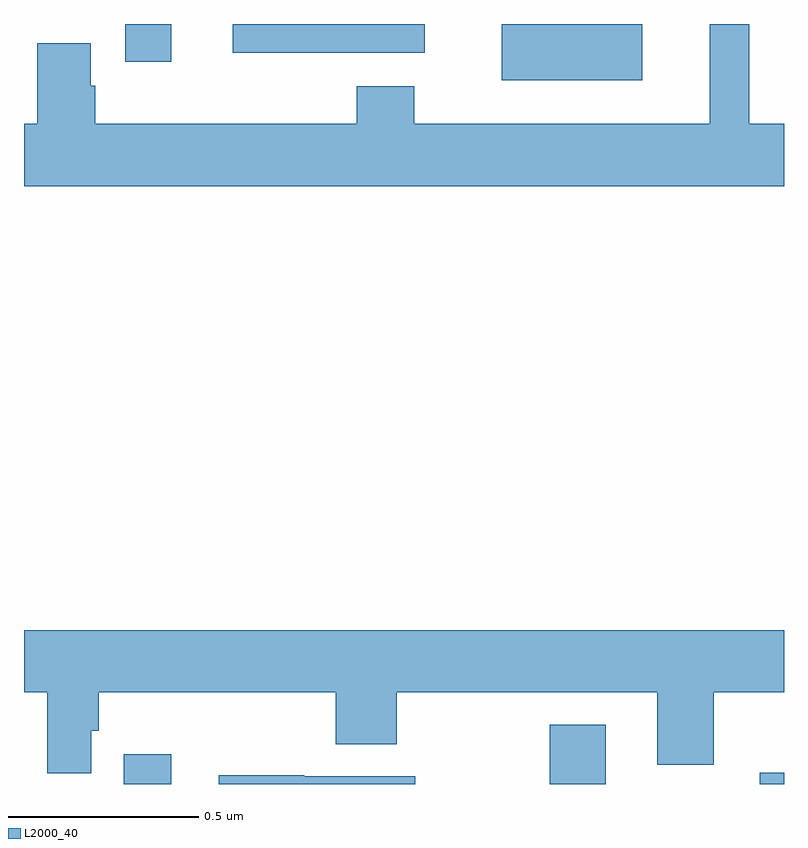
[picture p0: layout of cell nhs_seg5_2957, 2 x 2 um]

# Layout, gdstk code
import gdstk
lib = gdstk.Library(unit=1e-6, precision=1e-09)
def R(c, l, rs):  # rectangles x0, y0, x1, y1
    for r in rs: c.add(gdstk.rectangle(r[:2], r[2:], *l))
def P(c, l, *ps):  # polygons
    for p in ps: c.add(gdstk.Polygon(p, *l))
L2000_40 = (2000, 40)

nhs_seg5_2957 = lib.new_cell('nhs_seg5_2957')
R(nhs_seg5_2957, L2000_40, [(150.262,909.799,150.388,909.877), (151.384,909.799,151.531,909.955), (151.936,909.799,152,909.829), (151.257,911.651,151.627,911.799), (150.266,911.7,150.388,911.799), (150.549,911.723,151.054,911.799)])
P(nhs_seg5_2957, L2000_40, [(152,911.536),(151.909,911.536),(151.909,911.799),(151.805,911.799),(151.805,911.536),(151.027,911.536),(151.027,911.635),(150.875,911.635),(150.875,911.536),(150.188,911.536),(150.188,911.637),(150.175,911.637),(150.175,911.748),(150.035,911.748),(150.035,911.536),(150,911.536),(150,911.372),(152,911.372)],
  [(150.177,909.939),(150.197,909.939),(150.197,910.04),(150.821,910.04),(150.821,909.904),(150.981,909.904),(150.981,910.04),(151.667,910.04),(151.667,909.85),(151.815,909.85),(151.815,910.04),(152,910.04),(152,910.204),(150,910.204),(150,910.04),(150.061,910.04),(150.061,909.827),(150.177,909.827)],
  [(151.03,909.819),(150.737,909.819),(150.737,909.822),(150.513,909.822),(150.513,909.799),(151.03,909.799)])

lib.write_gds('nhs_seg5_2957.gds')
